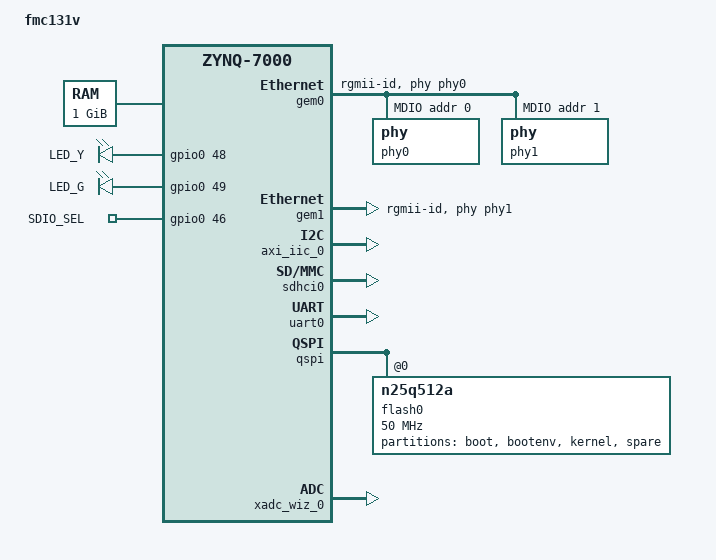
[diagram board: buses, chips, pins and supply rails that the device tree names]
/dts-v1/;

#include "zynq-7000.dtsi"

/ {
        model = "fmc131v";
        compatble = "insys,fmc131v", "xlnx,zynq-7000";

        aliases {
                ethernet0 = &gem0;
                ethernet1 = &gem1;
                i2c0 = &axi_iic_0;
                i2c1 = &i2c0;
                i2c2 = &i2c1;
                serial0 = &uart0;
                serial1 = &mdm_0;
                spi0 = &qspi;
        };

        memory {
                device_type = "memory";
                reg = <0x0 0x40000000>;
        };

        cpus {
                /delete-node/ cpu@1 ;
        };

        chosen {
                bootargs = "console=ttyPS0,115200 earlycon root=/dev/mmcblk0p2 rootfstype=ext4 init_fatal_sh=1";
                stdout-path = "serial0:115200n8";
        };

        leds {
                compatible = "gpio-leds";

                LED_Y {
                        label = "LED_Y";
                        gpios = <&gpio0 48 0>;
                        linux,default-trigger = "heartbeat";
                };

                LED_G {
                        label = "LED_G";
                        gpios = <&gpio0 49 0>;
                        default-state = "off";
                };

                SDIO_SEL {
                        label = "SDIO_SEL";
                        gpios = <&gpio0 46 0>;
                        default-state = "on";
                };
        };
/* этот вариант работает в u-boot (в linux - нет)
        mdio {
            compatible = "cdns,macb-mdio";
            reg = <0xe000b000 0x1000>;
            clocks = <&clkc 30>, <&clkc 30>, <&clkc 13>;
            clock-names = "pclk", "hclk", "tx_clk";
            #address-cells = <1>;
            #size-cells = <0>;
            phy0: phy@0 {
                compatible = "marvell";
                device_type = "ethernet-phy";
                reg = <0>;
            };
            phy1: phy@1 {
                compatible = "marvell";
                device_type = "ethernet-phy";
                reg = <1>;
            };
        };
*/
};

/* этот вариант работает в u-boot (в linux - нет)
&gem0 {
    status = "okay";
    local-mac-address = [00 0a 35 00 01 00];
    phy-mode = "rgmii-id";
    phy-handle = <&phy0>;
};

&gem1 {
    status = "okay";
    local-mac-address = [00 0a 35 00 01 01];
    phy-mode = "rgmii-id";
    phy-handle = <&phy1>;
};
*/

/* этот вариант не работает с двумя PHY в u-boot, но работает в linux
   поэтому оставляем его по умолчанию. При этом в u-boot должен
   работать только gem0 */
&gem0 {
    status = "okay";
    local-mac-address = [00 0a 35 00 01 00];
    phy-mode = "rgmii-id";
    phy-handle = <&phy0>;
    ps7_ethernet_0_mdio: mdio {
        #address-cells = <0x1>;
        #size-cells = <0x0>;
        phy0: phy@0 {
            device_type = "ethernet-phy";
            reg = <0>;
        };
        phy1: phy@1 {
            device_type = "ethernet-phy";
            reg = <1>;
        };
    };
};

&gem1 {
    status = "okay";
    local-mac-address = [00 0a 35 00 01 01];
    phy-mode = "rgmii-id";
    phy-handle = <&phy1>;
};

&axi_iic_0 {
    status = "okay";
};

&axi_gpio_0 {
    status = "okay";
};

&sdhci0 {
        status = "okay";
        xlnx,has-cd = <0x0>;
        xlnx,has-power = <0x0>;
        xlnx,has-wp = <0x0>;
        max-frequency = <50000000>;
        no-1-8-v;
};

&amba {
    ptm@f889d000 {
        cpu = <&cpu0>;
    };
};

&uart0 {
    status = "okay";
};

&qspi {

    flash0: flash@0 {
        compatible = "n25q512a", "micron,m25p80";
        #address-cells = <1>;
        #size-cells = <1>;
        spi-max-frequency = <50000000>;
        partition@0 {
            label = "boot";
            reg = <0x00000000 0x00200000>;
        };
        partition@1 {
            label = "bootenv";
            reg = <0x00200000 0x00020000>;
        };
        partition@2 {
            label = "kernel";
            reg = <0x00220000 0x00d80000>;
        };
        partition@3 {
            label = "spare";
            reg = <0x00fa0000 0x00000000>;
        };
    };
};

&xadc_wiz_0 {

    status = "okay";

    xlnx,channels {

        #address-cells = <0x1>;
        #size-cells = <0x0>;

        channel@0 {
            reg = <0x0>;
        };
        channel@1 {
            reg = <0x1>;
        };
        channel@2 {
            reg = <0x2>;
        };
        channel@3 {
            reg = <0x3>;
        };
        channel@4 {
            reg = <0x4>;
        };
        channel@5 {
            reg = <0x5>;
        };
        channel@6 {
            reg = <0x6>;
        };
        channel@7 {
            reg = <0x7>;
        };
        channel@8 {
            reg = <0x8>;
        };
        channel@9 {
            reg = <0x9>;
        };
        channel@a {
            reg = <0xa>;
        };
        channel@b {
            reg = <0xb>;
        };
        channel@c {
            reg = <0xc>;
        };
        channel@d {
            reg = <0xd>;
        };
        channel@e {
            reg = <0xe>;
        };
        channel@f {
            reg = <0xf>;
        };
        channel@10 {
            reg = <0x10>;
        };
    };
};
